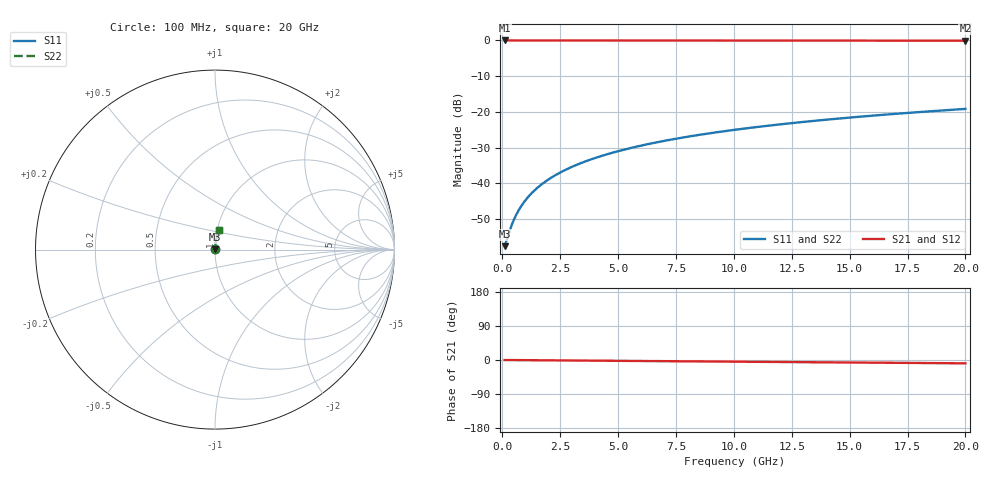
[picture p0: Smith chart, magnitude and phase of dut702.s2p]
! Touchstone file exported from HFSS 2026.1.0
!  File:  C:/ffzhzh/LocalFiles/Ansys_Project_Files/temp_train_TSV_702_1783181755_43440.aedt
!  Generated:  12:17:48 AM Jul  5, 2026
!  Design:  TSV
!  Project:  temp_train_TSV_702_1783181755_43440
! Variables:
!  h_bsmrdl = 2um
!  h_ox = 20um
!  h_rdl = 5um
!  h_sub = 53.53um
!  h_tmrdl = 5um
!  h_tsv = 53.53um
!  h_via = 3um
!  l_bsmrdl = 300um
!  l_sub = 404.6um
!  l_tmrdl = 200um
!  m_sub = 200um
!  pitch = 45.55um
!  r_tsv = 2.3um
!  s_tmrdl = 10um
!  w_bsmrdl = 18um
!  w_sub = 500um
!  w_tmrdl = 12um
!  x_tsv_center1 = 206um
!  x_tsv_center2 = 524um
!  x_tsv_center3 = 736um
!  x_tsv_center4 = 1054um
!  x_tsv_center5 = 1266um
!  x_tsv_center6 = 1584um
# GHz S MA R 50.000000
! Terminal data exported
! Port[1] = TSV1_1_T1
! Port[2] = TSV1_1_T2
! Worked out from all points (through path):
!   200 points, 100 MHz to 20 GHz, reference 50 ohm
!   highest |S21| = -0.01 dB at 100 MHz (marker M1); lowest = -0.1 dB at 20 GHz (marker M2)
!   group delay of S21, straight-line fit = 1.22 ps
!   lowest |S11| = -57.6 dB at 100 MHz (marker M3), VSWR 1.00, Z = 50.1 + j0.0572 ohm
!   |S11| at or under -10 dB: start of sweep to end of sweep
!   |S22| runs from -57.6 to -19.2 dB; largest |S21 - S12| = 3.2e-15
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0.1  0.00132 25.6  0.9988 -0.0  0.9988 -0.0  0.00132 25.6
! Gamma 0 0 0 0
! Port Impedance 50 0 50 0
0.3  0.002089 54.9  0.9988 -0.1  0.9988 -0.1  0.002089 54.9
0.4  0.002578 62.0  0.9988 -0.2  0.9988 -0.2  0.002578 62.0
0.5  0.003092 66.8  0.9988 -0.2  0.9988 -0.2  0.003092 66.8
0.6  0.003621 70.1  0.9988 -0.3  0.9988 -0.3  0.003621 70.1
0.7  0.004159 72.6  0.9988 -0.3  0.9988 -0.3  0.004159 72.6
0.9  0.005249 76.0  0.9988 -0.4  0.9988 -0.4  0.005249 76.0
1.2  0.006904 79.1  0.9987 -0.5  0.9987 -0.5  0.006904 79.1
1.4  0.008015 80.4  0.9987 -0.6  0.9987 -0.6  0.008015 80.4
1.7  0.009687 81.8  0.9987 -0.8  0.9987 -0.8  0.009687 81.8
2.2  0.01248 83.1  0.9986 -1.0  0.9986 -1.0  0.01248 83.1
2.8  0.01584 84.0  0.9986 -1.2  0.9986 -1.2  0.01584 84.0
3.5  0.01977 84.5  0.9985 -1.6  0.9985 -1.6  0.01977 84.5
4.2  0.02369 84.8  0.9983 -1.9  0.9983 -1.9  0.02369 84.8
5  0.02817 84.8  0.9982 -2.2  0.9982 -2.2  0.02817 84.8
5.9  0.03319 84.8  0.9979 -2.6  0.9979 -2.6  0.03319 84.8
6.8  0.03821 84.6  0.9977 -3.0  0.9977 -3.0  0.03821 84.6
8.3  0.04653 84.2  0.9972 -3.7  0.9972 -3.7  0.04653 84.2
10.1  0.05647 83.6  0.9965 -4.5  0.9965 -4.5  0.05647 83.6
13.4  0.07453 82.3  0.995 -5.9  0.995 -5.9  0.07453 82.3
16.7  0.09238 81.1  0.9931 -7.3  0.9931 -7.3  0.09238 81.1
20  0.11 79.7  0.9911 -8.8  0.9911 -8.8  0.11 79.7
